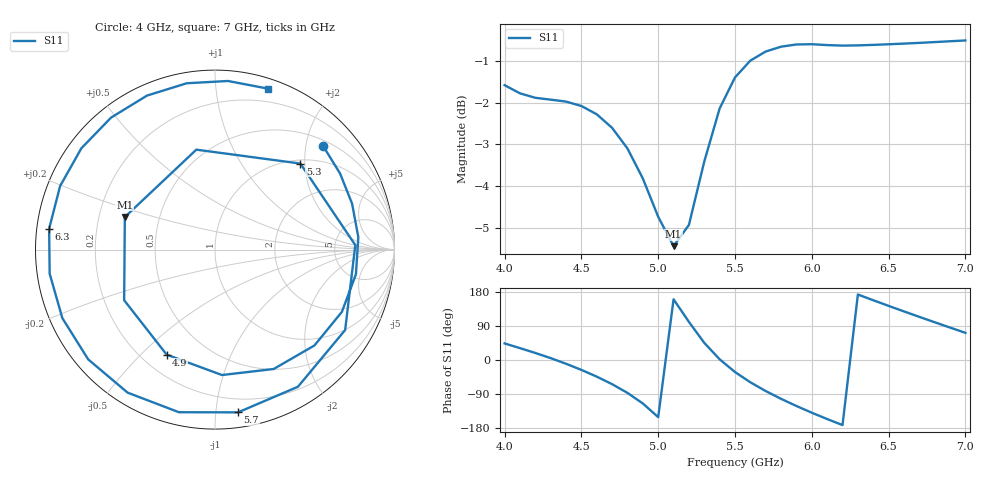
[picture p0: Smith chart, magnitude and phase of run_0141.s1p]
! Touchstone file exported from HFSS 2024.2.0
!  File:  C:/Users/wsak9/Desktop/Sim Fast/Widenad Patch/WP_AI_V1_sweep.aedt
!  Generated:  08:48:26 PM Oct 13, 2026
!  Design:  A1_model
!  Project:  WP_AI_V1_sweep
!  Setup:  Setup1
!  Solution:  Sweep
! Variables:
!  Air_gap = 4.02mm
!  Curve_Amp1 = 0.68
!  Curve_len1 = 1
!  Curve_pos = 11.705mm
!  Extra = 4.2mm
!  H_sub = 0.79mm
!  L_Patch = 19.41mm
!  L_Patch1 = 21.02mm
!  Sx = 3.37mm
!  Sy = 1.52mm
!  WS = 1.41mm
!  W_Patch = 21.75mm
!  W_Patch1 = 16.82mm
!Data is not renormalized
# GHz S MA
! Terminal data exported
! Port[1] = 1
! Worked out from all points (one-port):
!   31 points, 4 GHz to 7 GHz, reference per port
!   lowest |S11| = -5.4 dB at 5.1 GHz (marker M1), VSWR 3.29
!   |S11| at or under -10 dB: nowhere
!   S11 on the Smith chart (normalised r, x): 4 GHz: 0.62, +2.35; 4.9 GHz: 0.30, -0.60; 5.3 GHz: 1.08, +1.90; 5.7 GHz: 0.10, -1.15; 6.3 GHz: 0.04, +0.06; 7 GHz: 0.08, +1.38
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4  0.8342 43.7
4.2  0.8056 18.5
4.4  0.7971 -9.9
4.5  0.7875 -26.1
4.6  0.7696 -43.9
4.7  0.7412 -63.8
4.8  0.6999 -86.8
4.9  0.6442 -114.7
5  0.5794 -150.9
5.1  0.5341 160.2
5.2  0.5664 100.6
5.3  0.6752 45.2
5.4  0.7821 1.8
5.5  0.8524 -31.7
5.6  0.893 -58.8
5.7  0.9158 -81.9
5.8  0.9281 -102.5
5.9  0.9338 -121.4
6  0.9345 -139.1
6.1  0.9322 -155.8
6.2  0.9309 -171.7
6.3  0.9315 172.8
6.4  0.9328 157.7
6.5  0.9343 142.8
6.7  0.938 113.8
6.8  0.94 99.6
6.9  0.9422 85.6
7  0.9443 71.7
